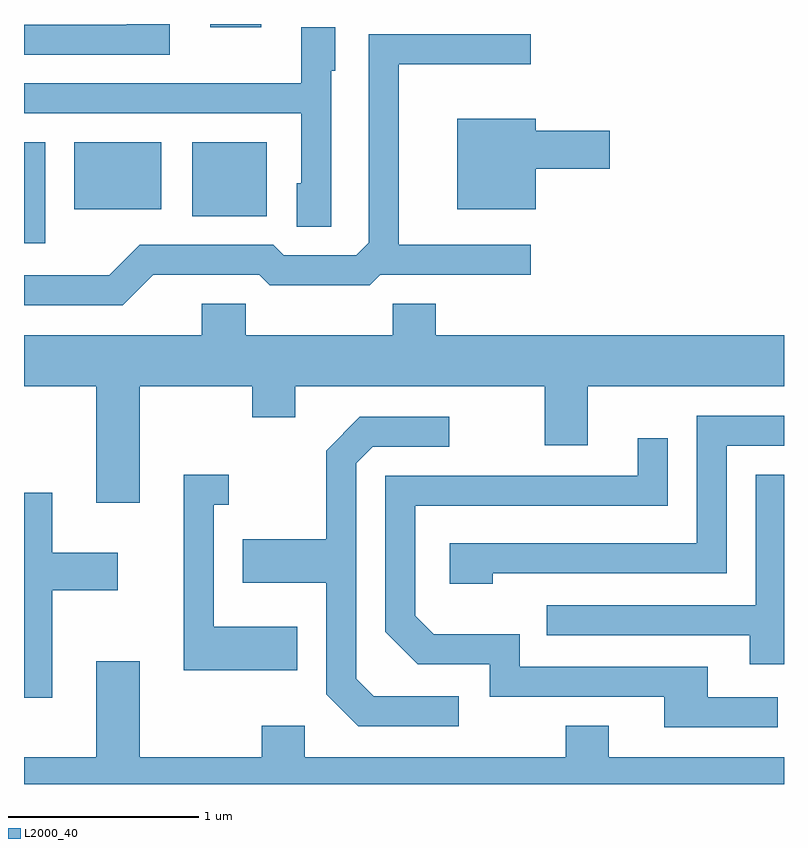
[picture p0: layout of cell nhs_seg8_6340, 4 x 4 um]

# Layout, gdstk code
import gdstk
lib = gdstk.Library(unit=1e-6, precision=1e-09)
def R(c, l, rs):  # rectangles x0, y0, x1, y1
    for r in rs: c.add(gdstk.rectangle(r[:2], r[2:], *l))
def P(c, l, *ps):  # polygons
    for p in ps: c.add(gdstk.Polygon(p, *l))
L2000_40 = (2000, 40)

nhs_seg8_6340 = lib.new_cell('nhs_seg8_6340')
R(nhs_seg8_6340, L2000_40, [(375.611,1817.188,375.724,1817.719), (376.496,1817.331,376.889,1817.719), (375.876,1817.366,376.334,1817.719), (376.591,1818.326,376.859,1818.342)])
P(nhs_seg8_6340, L2000_40, [(376.379,1818.342),(376.151,1818.342),(376.151,1818.339),(375.611,1818.339),(375.611,1818.181),(376.379,1818.181)],
  [(377.229,1818.096),(377.249,1818.096),(377.249,1818.324),(377.071,1818.324),(377.071,1818.029),(375.611,1818.029),(375.611,1817.871),(377.071,1817.871),(377.071,1817.504),(377.046,1817.504),(377.046,1817.276),(377.229,1817.276)],
  [(376.292,1817.021),(376.849,1817.021),(376.904,1816.966),(377.432,1816.966),(377.487,1817.021),(378.278,1817.021),(378.278,1817.179),(377.584,1817.179),(377.584,1818.131),(378.278,1818.131),(378.278,1818.289),(377.426,1818.289),(377.426,1817.192),(377.359,1817.124),(376.977,1817.124),(376.922,1817.179),(376.219,1817.179),(376.059,1817.019),(375.611,1817.019),(375.611,1816.861),(376.132,1816.861)],
  [(378.304,1817.581),(378.694,1817.581),(378.694,1817.779),(378.304,1817.779),(378.304,1817.844),(377.891,1817.844),(377.891,1817.366),(378.304,1817.366)],
  [(376.811,1816.271),(377.039,1816.271),(377.039,1816.436),(378.351,1816.436),(378.351,1816.126),(378.579,1816.126),(378.579,1816.436),(379.611,1816.436),(379.611,1816.704),(377.779,1816.704),(377.779,1816.869),(377.551,1816.869),(377.551,1816.704),(376.779,1816.704),(376.779,1816.869),(376.546,1816.869),(376.546,1816.704),(375.611,1816.704),(375.611,1816.436),(375.991,1816.436),(375.991,1815.821),(376.219,1815.821),(376.219,1816.436),(376.811,1816.436)],
  [(378.079,1815.451),(379.309,1815.451),(379.309,1816.121),(379.611,1816.121),(379.611,1816.279),(379.151,1816.279),(379.151,1815.609),(377.851,1815.609),(377.851,1815.396),(378.079,1815.396)],
  [(377.898,1814.804),(377.452,1814.804),(377.359,1814.897),(377.359,1816.029),(377.447,1816.116),(377.848,1816.116),(377.848,1816.274),(377.379,1816.274),(377.201,1816.097),(377.201,1815.629),(376.761,1815.629),(376.761,1815.401),(377.201,1815.401),(377.201,1814.814),(377.369,1814.646),(377.898,1814.646)],
  [(379.578,1814.799),(379.209,1814.799),(379.209,1814.959),(378.219,1814.959),(378.219,1815.129),(377.767,1815.129),(377.669,1815.227),(377.669,1815.806),(378.999,1815.806),(378.999,1816.163),(378.841,1816.163),(378.841,1815.964),(377.511,1815.964),(377.511,1815.144),(377.684,1814.971),(378.061,1814.971),(378.061,1814.801),(378.981,1814.801),(378.981,1814.641),(379.578,1814.641)],
  [(379.611,1815.969),(379.461,1815.969),(379.461,1815.284),(378.363,1815.284),(378.363,1815.126),(379.431,1815.126),(379.431,1814.971),(379.611,1814.971)],
  [(377.049,1815.169),(376.609,1815.169),(376.609,1815.811),(376.688,1815.811),(376.688,1815.969),(376.451,1815.969),(376.451,1814.941),(377.049,1814.941)],
  [(375.759,1815.361),(376.104,1815.361),(376.104,1815.559),(375.759,1815.559),(375.759,1815.874),(375.611,1815.874),(375.611,1814.796),(375.759,1814.796)],
  [(379.611,1814.484),(378.689,1814.484),(378.689,1814.649),(378.461,1814.649),(378.461,1814.484),(377.089,1814.484),(377.089,1814.649),(376.861,1814.649),(376.861,1814.484),(376.219,1814.484),(376.219,1814.989),(375.991,1814.989),(375.991,1814.484),(375.611,1814.484),(375.611,1814.342),(379.611,1814.342)])

lib.write_gds('nhs_seg8_6340.gds')
